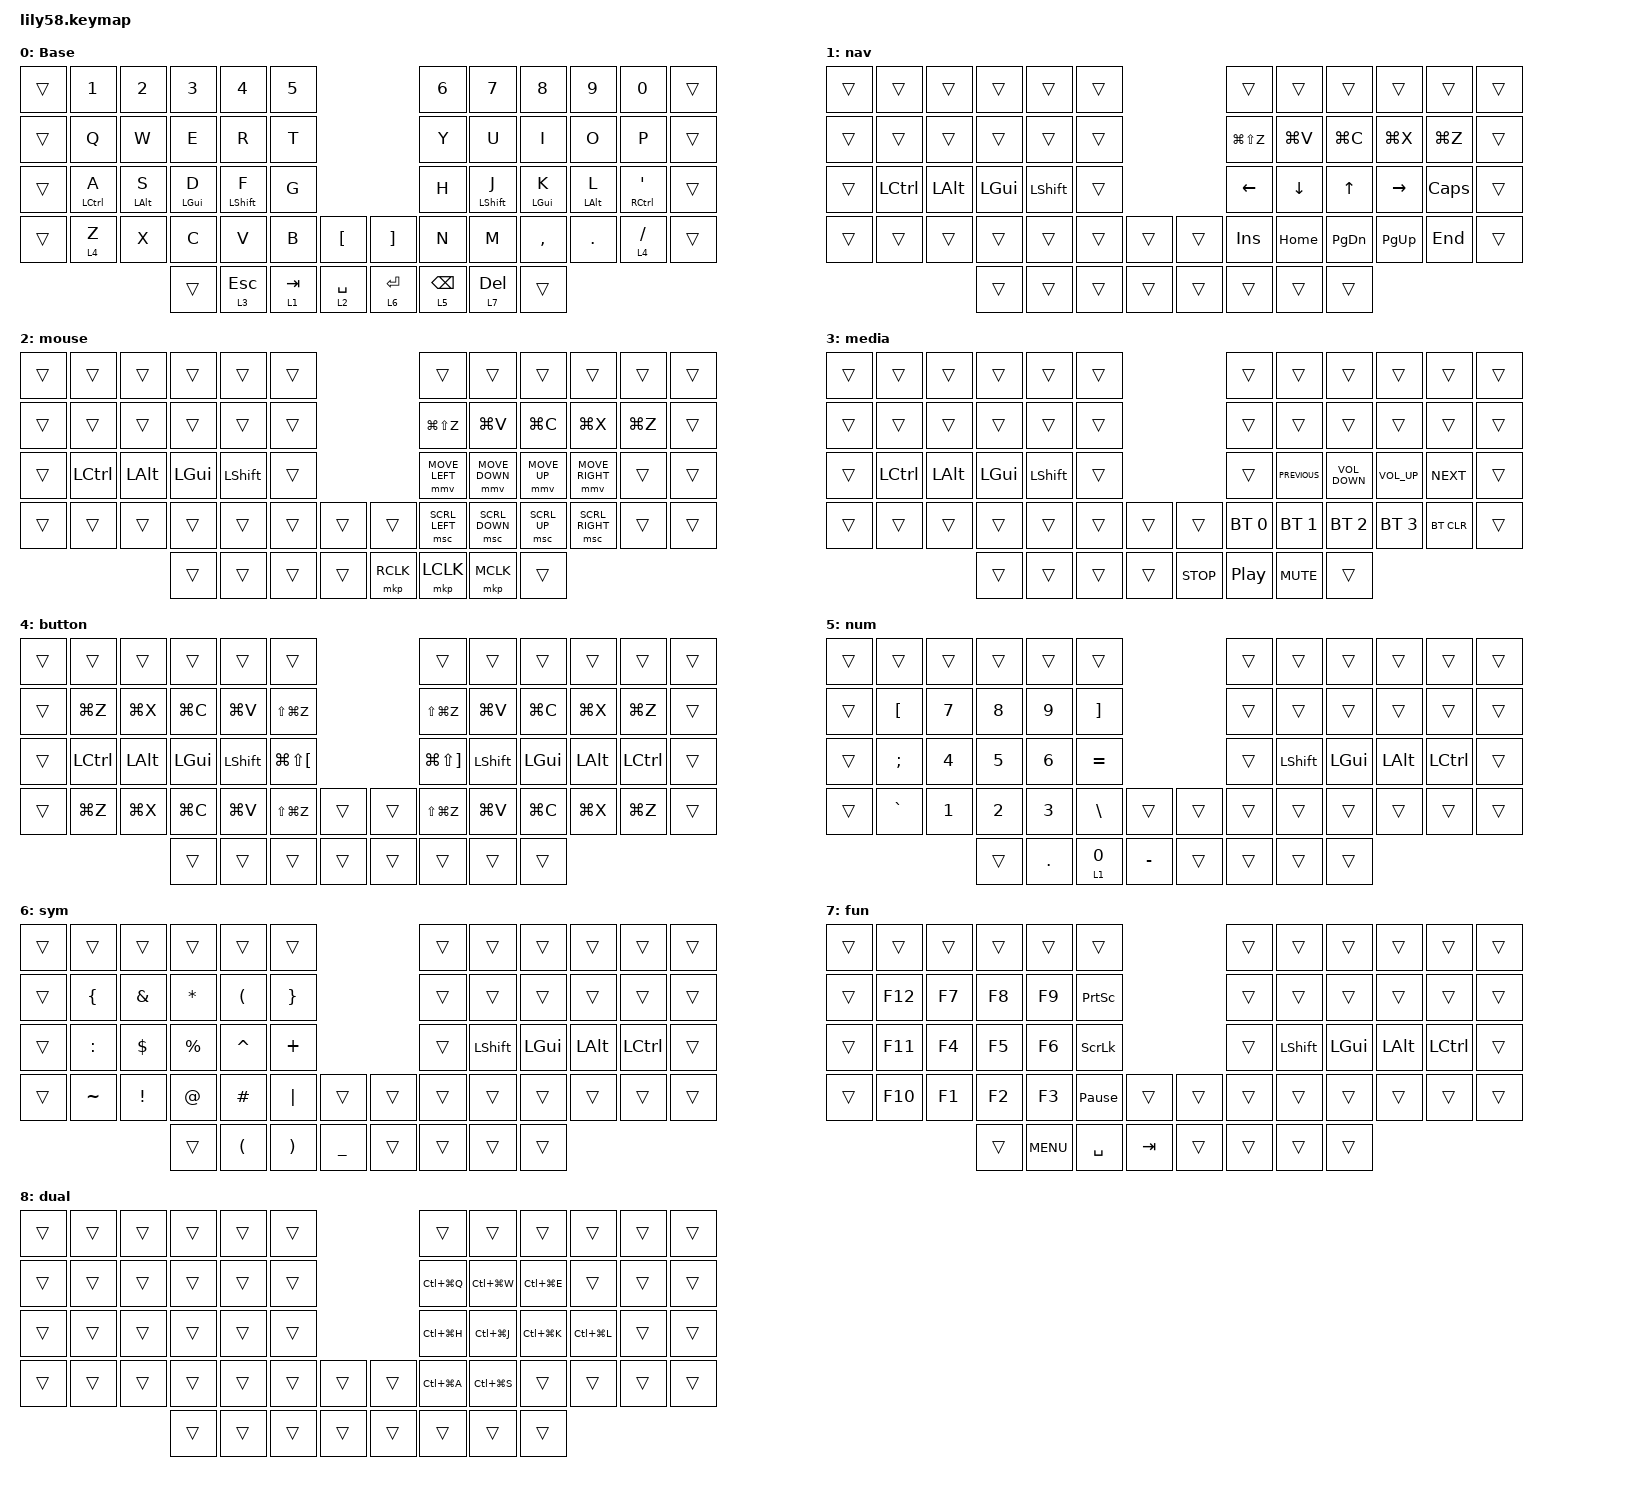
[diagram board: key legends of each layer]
/*
 * Copyright (c) 2020 The ZMK Contributors
 *
 * SPDX-License-Identifier: MIT
 */

#include <behaviors.dtsi>
#include <dt-bindings/zmk/bt.h>
#include <dt-bindings/zmk/keys.h>
#include <dt-bindings/zmk/pointing.h>

&mt {
    tapping-term-ms = <300>;
    quick-tap-ms = <200>;
};

&lt {
    quick-tap-ms = <200>;
    tapping-term-ms = <300>;
};

/ {
    behaviors {
        hm: homerow_mods {
            compatible = "zmk,behavior-hold-tap";
            label = "HOMEROW_MODS";
            bindings = <&kp>, <&kp>;

            #binding-cells = <2>;
            tapping-term-ms = <300>;
            flavor = "tap-preferred";
        };

        gresc: grave_escape {
            compatible = "zmk,behavior-mod-morph";
            #binding-cells = <0>;
            bindings = <&kp ESC>, <&kp GRAVE>;

            mods = <(MOD_LGUI)>;
            keep-mods = <(MOD_LGUI)>;
        };
    };

    combos {
        compatible = "zmk,combos";

        esc {
            bindings = <&kp ESCAPE>;
            key-positions = <28 31>;
        };

        grave {
            bindings = <&kp GRAVE>;
            key-positions = <13 14>;
        };

        tilde {
            bindings = <&kp TILDE>;
            key-positions = <37 38>;
        };

        brace_left {
            bindings = <&kp LEFT_BRACE>;
            key-positions = <15 14>;
        };

        brace_right {
            bindings = <&kp RIGHT_BRACE>;
            key-positions = <21 20>;
        };

        bracket_left {
            bindings = <&kp LEFT_BRACKET>;
            key-positions = <38 39>;
        };

        bracket_right {
            bindings = <&kp RIGHT_BRACKET>;
            key-positions = <46 47>;
        };

        parenthesis_left {
            bindings = <&kp LEFT_PARENTHESIS>;
            key-positions = <16 15>;
        };

        parenthesis_right {
            bindings = <&kp RIGHT_PARENTHESIS>;
            key-positions = <19 20>;
        };

        less_than {
            bindings = <&kp LESS_THAN>;
            key-positions = <40 39>;
        };

        greater_than {
            bindings = <&kp GREATER_THAN>;
            key-positions = <45 46>;
        };

        backspace {
            bindings = <&kp BACKSPACE>;
            key-positions = <22 21>;
        };

        alternative_esc {
            bindings = <&kp ESCAPE>;
            key-positions = <31 32 33>;
        };
    };

    keymap {
        compatible = "zmk,keymap";

        default_layer {
            // ------------------------------------------------------------------------------------------------------------
            // |  ESC  |  1  |  2  |  3   |  4   |  5   |                   |  6   |  7    |  8    |  9   |   0   |   `   |
            // |  TAB  |  Q  |  W  |  E   |  R   |  T   |                   |  Y   |  U    |  I    |  O   |   P   |   -   |
            // |  CTRL |  A  |  S  |  D   |  F   |  G   |                   |  H   |  J    |  K    |  L   |   ;   |   '   |
            // | SHIFT |  Z  |  X  |  C   |  V   |  B   |   "["  |  |  "]"  |  N   |  M    |  ,    |  .   |   /   | SHIFT |
            //                     | ALT  | GUI  | LOWER|  SPACE |  | ENTER | RAISE| BSPC  | GUI   |

            display-name = "Base";
            bindings = <
&trans  &kp N1       &kp N2          &kp N3          &kp N4        &kp N5                                 &kp N6           &kp N7            &kp N8          &kp N9          &kp N0                &trans
&trans  &kp Q        &kp W           &kp E           &kp R         &kp T                                  &kp Y            &kp U             &kp I           &kp O           &kp P                 &trans
&trans  &hm LCTRL A  &hm LEFT_ALT S  &hm LEFT_GUI D  &hm LSHIFT F  &kp G                                  &kp H            &hm LEFT_SHIFT J  &hm LEFT_GUI K  &hm LEFT_ALT L  &hm RCTRL APOSTROPHE  &trans
&trans  &lt 4 Z      &kp X           &kp C           &kp V         &kp B      &kp LBKT       &kp RBKT     &kp N            &kp M             &kp COMMA       &kp DOT         &lt 4 SLASH           &trans
                                     &trans          &lt 3 ESCAPE  &lt 1 TAB  &lt 2 SPACE    &lt 6 ENTER  &lt 5 BACKSPACE  &lt 7 DELETE      &trans
            >;
        };

        nav {
            bindings = <
&trans  &trans            &trans        &trans        &trans          &trans                    &trans          &trans          &trans         &trans           &trans        &trans
&trans  &trans            &trans        &trans        &trans          &trans                    &kp LG(LS(Z))   &kp LG(V)       &kp LG(C)      &kp LG(X)        &kp LG(Z)     &trans
&trans  &kp LEFT_CONTROL  &kp LEFT_ALT  &kp LEFT_GUI  &kp LEFT_SHIFT  &trans                    &kp LEFT_ARROW  &kp DOWN_ARROW  &kp UP_ARROW   &kp RIGHT_ARROW  &kp CAPSLOCK  &trans
&trans  &trans            &trans        &trans        &trans          &trans  &trans    &trans  &kp INSERT      &kp HOME        &kp PAGE_DOWN  &kp PAGE_UP      &kp END       &trans
                                        &trans        &trans          &trans  &trans    &trans  &trans          &trans          &trans
            >;
        };

        mouse {
            bindings = <
&trans  &trans            &trans        &trans        &trans          &trans                       &trans          &trans          &trans        &trans           &trans     &trans
&trans  &trans            &trans        &trans        &trans          &trans                       &kp LG(LS(Z))   &kp LG(V)       &kp LG(C)     &kp LG(X)        &kp LG(Z)  &trans
&trans  &kp LEFT_CONTROL  &kp LEFT_ALT  &kp LEFT_GUI  &kp LEFT_SHIFT  &trans                       &mmv MOVE_LEFT  &mmv MOVE_DOWN  &mmv MOVE_UP  &mmv MOVE_RIGHT  &trans     &trans
&trans  &trans            &trans        &trans        &trans          &trans  &trans    &trans     &msc SCRL_LEFT  &msc SCRL_DOWN  &msc SCRL_UP  &msc SCRL_RIGHT  &trans     &trans
                                        &trans        &trans          &trans  &trans    &mkp RCLK  &mkp LCLK       &mkp MCLK       &trans
            >;
        };

        media {
            bindings = <
&trans  &trans     &trans    &trans    &trans     &trans                        &trans            &trans          &trans             &trans           &trans      &trans
&trans  &trans     &trans    &trans    &trans     &trans                        &trans            &trans          &trans             &trans           &trans      &trans
&trans  &kp LCTRL  &kp LALT  &kp LGUI  &kp LSHFT  &trans                        &trans            &kp C_PREVIOUS  &kp C_VOLUME_DOWN  &kp C_VOLUME_UP  &kp C_NEXT  &trans
&trans  &trans     &trans    &trans    &trans     &trans  &trans    &trans      &bt BT_SEL 0      &bt BT_SEL 1    &bt BT_SEL 2       &bt BT_SEL 3     &bt BT_CLR  &trans
                             &trans    &trans     &trans  &trans    &kp C_STOP  &kp C_PLAY_PAUSE  &kp C_MUTE      &trans
            >;
        };

        button {
            bindings = <
&trans  &trans     &trans     &trans     &trans     &trans                                      &trans                     &trans     &trans     &trans     &trans     &trans
&trans  &kp LG(Z)  &kp LG(X)  &kp LG(C)  &kp LG(V)  &kp LS(LG(Z))                               &kp LS(LG(Z))              &kp LG(V)  &kp LG(C)  &kp LG(X)  &kp LG(Z)  &trans
&trans  &kp LCTRL  &kp LALT   &kp LGUI   &kp LSHFT  &kp LG(LS(LEFT_BRACKET))                    &kp LG(LS(RIGHT_BRACKET))  &kp LSHFT  &kp LGUI   &kp LALT   &kp LCTRL  &trans
&trans  &kp LG(Z)  &kp LG(X)  &kp LG(C)  &kp LG(V)  &kp LS(LG(Z))             &trans    &trans  &kp LS(LG(Z))              &kp LG(V)  &kp LG(C)  &kp LG(X)  &kp LG(Z)  &trans
                              &trans     &trans     &trans                    &trans    &trans  &trans                     &trans     &trans
            >;
        };

        num {
            bindings = <
&trans  &trans     &trans  &trans  &trans   &trans                               &trans  &trans     &trans    &trans    &trans     &trans
&trans  &kp LBKT   &kp N7  &kp N8  &kp N9   &kp RBKT                             &trans  &trans     &trans    &trans    &trans     &trans
&trans  &kp SEMI   &kp N4  &kp N5  &kp N6   &kp EQUAL                            &trans  &kp LSHFT  &kp LGUI  &kp LALT  &kp LCTRL  &trans
&trans  &kp GRAVE  &kp N1  &kp N2  &kp N3   &kp BSLH        &trans       &trans  &trans  &trans     &trans    &trans    &trans     &trans
                           &trans  &kp DOT  &lt 1 NUMBER_0  &kp MINUS    &trans  &trans  &trans     &trans
            >;
        };

        sym {
            bindings = <
&trans  &trans          &trans           &trans        &trans                &trans                                           &trans  &trans     &trans    &trans    &trans     &trans
&trans  &kp LEFT_BRACE  &kp AMPERSAND    &kp ASTERISK  &kp LEFT_PARENTHESIS  &kp RIGHT_BRACE                                  &trans  &trans     &trans    &trans    &trans     &trans
&trans  &kp COLON       &kp DOLLAR       &kp PERCENT   &kp CARET             &kp PLUS                                         &trans  &kp LSHFT  &kp LGUI  &kp LALT  &kp LCTRL  &trans
&trans  &kp TILDE       &kp EXCLAMATION  &kp AT_SIGN   &kp HASH              &kp PIPE               &trans            &trans  &trans  &trans     &trans    &trans    &trans     &trans
                                         &trans        &kp LEFT_PARENTHESIS  &kp RIGHT_PARENTHESIS  &kp UNDERSCORE    &trans  &trans  &trans     &trans
            >;
        };

        fun {
            bindings = <
&trans  &trans   &trans  &trans  &trans      &trans                              &trans  &trans     &trans    &trans    &trans     &trans
&trans  &kp F12  &kp F7  &kp F8  &kp F9      &kp PRINTSCREEN                     &trans  &trans     &trans    &trans    &trans     &trans
&trans  &kp F11  &kp F4  &kp F5  &kp F6      &kp SCROLLLOCK                      &trans  &kp LSHFT  &kp LGUI  &kp LALT  &kp LCTRL  &trans
&trans  &kp F10  &kp F1  &kp F2  &kp F3      &kp PAUSE_BREAK  &trans     &trans  &trans  &trans     &trans    &trans    &trans     &trans
                         &trans  &kp C_MENU  &kp SPACE        &kp TAB    &trans  &trans  &trans     &trans
            >;
        };

        dual {
            bindings = <
&trans  &trans  &trans  &trans  &trans  &trans                    &trans         &trans         &trans         &trans         &trans  &trans
&trans  &trans  &trans  &trans  &trans  &trans                    &kp LC(LG(Q))  &kp LC(LG(W))  &kp LC(LG(E))  &trans         &trans  &trans
&trans  &trans  &trans  &trans  &trans  &trans                    &kp LC(LG(H))  &kp LC(LG(J))  &kp LC(LG(K))  &kp LC(LG(L))  &trans  &trans
&trans  &trans  &trans  &trans  &trans  &trans  &trans    &trans  &kp LC(LG(A))  &kp LC(LG(S))  &trans         &trans         &trans  &trans
                        &trans  &trans  &trans  &trans    &trans  &trans         &trans         &trans
            >;
        };
    };

    conditional_layers {
        compatible = "zmk,conditional-layers";

        dual {
            if-layers = <1 5>;
            then-layer = <8>;
        };
    };
};
